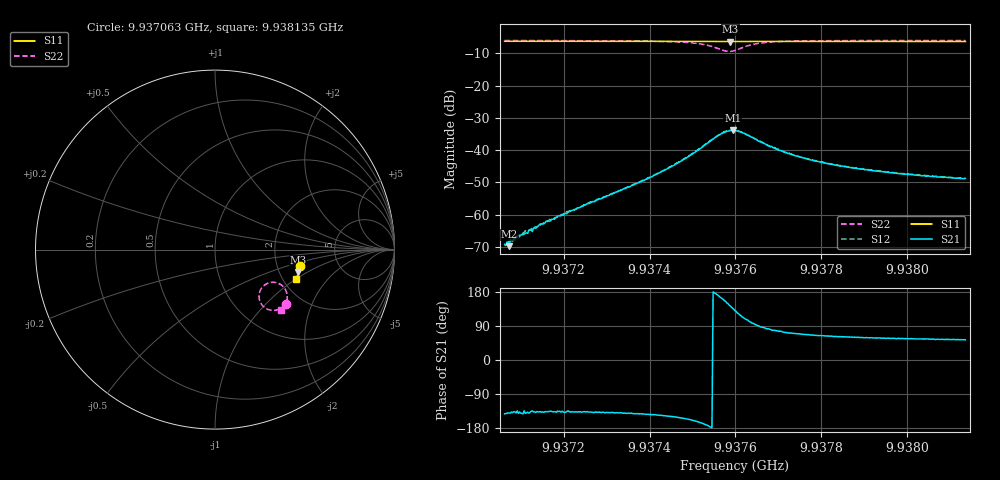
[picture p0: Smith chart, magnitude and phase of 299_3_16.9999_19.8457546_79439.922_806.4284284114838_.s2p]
#  HZ  S  RI  R  50.00
! Rohde & Schwarz Vector Network Analyzer
! Rohde-Schwarz,ZNB20-2Port,1311601062101988,3.16
! Created: UTC 3/20/2024, 11:05:26 PM
! freq[Hz]  re:S11  im:S11  re:S21  im:S21  re:S12  im:S12  re:S22  im:S22
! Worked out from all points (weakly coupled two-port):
!   401 points, 9.937063 GHz to 9.938135 GHz, reference 50 ohm
!   highest |S21| = -33.83 dB at 9.937594 GHz (marker M1); lowest = -69.7 dB at 9.937074 GHz (marker M2)
!   lowest |S11| = -6.4 dB at 9.937588 GHz (marker M3), VSWR 2.85, Z = 127 - j41.3 ohm
!   |S11| at or under -10 dB: nowhere
!   |S22| runs from -9.5 to -6.0 dB; largest |S21 - S12| = 0.00092
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9.9370628e9  0.4756 -0.0918  -0.000275 -0.000215  -0.000281 -0.000199  0.3956 -0.3032
9.9370682e9  0.4756 -0.0922  -0.000293 -0.00024  -0.00029 -0.000228  0.3951 -0.3038
9.9370735e9  0.4756 -0.0924  -0.000251 -0.00021  -0.000326 -0.00024  0.3948 -0.304
9.9370976e9  0.475 -0.0942  -0.000354 -0.000325  -0.000353 -0.000293  0.3932 -0.3059
9.9371137e9  0.4747 -0.0952  -0.000397 -0.000343  -0.000404 -0.000385  0.3918 -0.307
9.9371459e9  0.4742 -0.0974  -0.000521 -0.000503  -0.000517 -0.000454  0.3893 -0.3094
9.9372424e9  0.4724 -0.104  -0.00101 -0.000905  -0.00104 -0.000885  0.3806 -0.3172
9.9373362e9  0.4705 -0.1103  -0.00187 -0.00156  -0.00192 -0.00157  0.3684 -0.3258
9.937422e9  0.4685 -0.1163  -0.00365 -0.00249  -0.00376 -0.00247  0.3488 -0.3348
9.9374756e9  0.4671 -0.12  -0.00618 -0.00312  -0.00636 -0.00306  0.3251 -0.3388
9.9375265e9  0.4654 -0.1232  -0.0114 -0.00232  -0.0117 -0.00213  0.2818 -0.3267
9.9375667e9  0.4638 -0.1253  -0.0172 0.00498  -0.0174 0.00546  0.2451 -0.2617
9.9375881e9  0.4631 -0.1256  -0.0159 0.0123  -0.0157 0.013  0.2675 -0.2054
9.9375935e9  0.4631 -0.1257  -0.0148 0.014  -0.0145 0.0146  0.2801 -0.195
9.9375989e9  0.4632 -0.1259  -0.0129 0.0152  -0.0127 0.0158  0.2943 -0.1876
9.9376176e9  0.4635 -0.1269  -0.007 0.0171  -0.00656 0.0173  0.3433 -0.1845
9.9376551e9  0.4635 -0.1295  0.000144 0.0137  0.000566 0.014  0.3926 -0.2232
9.9377168e9  0.4626 -0.134  0.00276 0.00872  0.00287 0.00881  0.4019 -0.2692
9.9377784e9  0.4613 -0.1382  0.00284 0.0064  0.00301 0.00639  0.3966 -0.2914
9.9378508e9  0.4595 -0.143  0.00271 0.00495  0.00284 0.00489  0.3897 -0.306
9.937958e9  0.4567 -0.1502  0.00244 0.00378  0.00255 0.00381  0.3806 -0.3196
9.9381349e9  0.4521 -0.1616  0.00219 0.00293  0.00225 0.00293  0.3682 -0.3344
